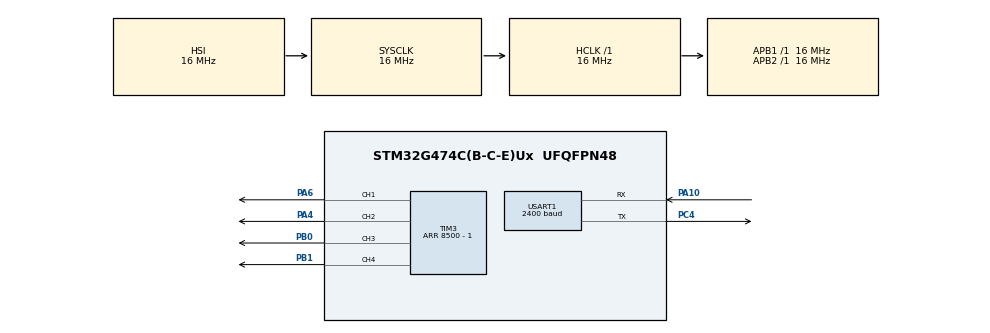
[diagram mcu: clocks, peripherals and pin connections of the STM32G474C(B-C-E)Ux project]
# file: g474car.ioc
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Mcu.Family=STM32G4
Mcu.Name=STM32G474C(B-C-E)Ux
Mcu.Package=UFQFPN48
NVIC.PriorityGroup=NVIC_PRIORITYGROUP_4
NVIC.USART1_IRQn=true\:0\:0\:false\:false\:true\:true\:true\:true
PA10.Mode=Asynchronous
PA10.Signal=USART1_RX
PA4.Signal=S_TIM3_CH2
PA6.Signal=S_TIM3_CH1
PB0.Signal=S_TIM3_CH3
PB1.Signal=S_TIM3_CH4
PC4.Mode=Asynchronous
PC4.Signal=USART1_TX
ProjectManager.HeapSize=0x200
ProjectManager.StackSize=0x400
ProjectManager.TargetToolchain=STM32CubeIDE
RCC.AHBFreq_Value=16000000
RCC.APB1Freq_Value=16000000
RCC.APB1TimFreq_Value=16000000
RCC.APB2Freq_Value=16000000
RCC.APB2TimFreq_Value=16000000
RCC.CortexFreq_Value=16000000
RCC.EXTERNAL_CLOCK_VALUE=12288000
RCC.HCLKFreq_Value=16000000
RCC.HSE_VALUE=8000000
RCC.HSI48_VALUE=48000000
RCC.HSI_VALUE=16000000
RCC.LSE_VALUE=32768
RCC.SYSCLKFreq_VALUE=16000000
RCC.USBFreq_Value=64000000
RCC.VCOOutputFreq_Value=128000000
SH.S_TIM3_CH1.0=TIM3_CH1,PWM Generation1 CH1
SH.S_TIM3_CH2.0=TIM3_CH2,PWM Generation2 CH2
SH.S_TIM3_CH3.0=TIM3_CH3,PWM Generation3 CH3
SH.S_TIM3_CH4.0=TIM3_CH4,Output Compare4 CH4
TIM3.Channel-Output\ Compare4\ CH4=TIM_CHANNEL_4
TIM3.Channel-PWM\ Generation1\ CH1=TIM_CHANNEL_1
TIM3.Channel-PWM\ Generation2\ CH2=TIM_CHANNEL_2
TIM3.Channel-PWM\ Generation3\ CH3=TIM_CHANNEL_3
TIM3.PeriodNoDither=8500 - 1
USART1.BaudRate=2400
USART1.VirtualMode-Asynchronous=VM_ASYNC
VP_SYS_VS_DBSignals.Mode=DisableDeadBatterySignals
VP_TIM3_VS_ClockSourceINT.Mode=Internal
board=custom

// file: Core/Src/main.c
/* USER CODE BEGIN Header */
/**
  ******************************************************************************
  * @file           : main.c
  * @brief          : Main program body
  ******************************************************************************
  * @attention
  *
  * Copyright (c) 2026 STMicroelectronics.
  * All rights reserved.
  *
  * This software is licensed under terms that can be found in the LICENSE file
  * in the root directory of this software component.
  * If no LICENSE file comes with this software, it is provided AS-IS.
  *
  ******************************************************************************
  */
/* USER CODE END Header */
#include "main.h"

/* USER CODE BEGIN PD */
#define STATE_IDLE    0
#define STATE_GET_L   1
#define STATE_GET_R   2
#define STATE_GET_CRC 3
/* USER CODE END PD */

TIM_HandleTypeDef htim3;

UART_HandleTypeDef huart1;

/* USER CODE BEGIN PV */
volatile uint8_t rx_state = STATE_IDLE; // Текущее состояние приемника
volatile uint8_t rx_byte = 0;           // Сюда прилетает байт из прерывания
volatile uint8_t motor_l_cmd = 100;    // Команда скорости левого мотора (100 - стоп)
volatile uint8_t motor_r_cmd = 100;    // Команда скорости правого мотора (100 - стоп)
volatile uint8_t rx_crc = 0;           // Полученная контрольная сумма
/* USER CODE END PV */

void SystemClock_Config(void);
static void MX_GPIO_Init(void);
static void MX_TIM3_Init(void);
static void MX_USART1_UART_Init(void);

/* USER CODE BEGIN 0 */
void Update_Motors(uint8_t left_val, uint8_t right_val)
{
    uint32_t duty_l = 0;
    uint32_t duty_r = 0;
    // --- ЛЕВЫЙ МОТОР (TIM3 Канал 1 и Канал 2) ---
    if (left_val > 100) // Едем вперед (101..200)
    {
        duty_l = (uint32_t)(left_val - 100) * 8499 / 100;
        __HAL_TIM_SET_COMPARE(&htim3, TIM_CHANNEL_1, duty_l); // Задаем Ш�?М на вперед
        __HAL_TIM_SET_COMPARE(&htim3, TIM_CHANNEL_2, 0);      // Назад выключаем в 0
    }
    else if (left_val < 100) // Едем назад (0..99)
    {
        duty_l = (uint32_t)(100 - left_val) * 8499 / 100;
        __HAL_TIM_SET_COMPARE(&htim3, TIM_CHANNEL_1, 0);      // Вперед выключаем в 0
        __HAL_TIM_SET_COMPARE(&htim3, TIM_CHANNEL_2, duty_l); // Задаем Ш�?М на назад
    }
    else // Стоим на месте (ровно 100)
    {
        __HAL_TIM_SET_COMPARE(&htim3, TIM_CHANNEL_1, 0);
        __HAL_TIM_SET_COMPARE(&htim3, TIM_CHANNEL_2, 0);
    }
    // --- ПРАВЫЙ МОТОР (TIM3 Канал 3 и Канал 4) ---
    if (right_val > 100) // Едем вперед
    {
        duty_r = (uint32_t)(right_val - 100) * 8499 / 100;
        __HAL_TIM_SET_COMPARE(&htim3, TIM_CHANNEL_3, duty_r);
        __HAL_TIM_SET_COMPARE(&htim3, TIM_CHANNEL_4, 0);
    }
    else if (right_val < 100) // Едем назад
    {
        duty_r = (uint32_t)(100 - right_val) * 8499 / 100;
        __HAL_TIM_SET_COMPARE(&htim3, TIM_CHANNEL_3, 0);
        __HAL_TIM_SET_COMPARE(&htim3, TIM_CHANNEL_4, duty_r);
    }
    else // Стоим
    {
        __HAL_TIM_SET_COMPARE(&htim3, TIM_CHANNEL_3, 0);
        __HAL_TIM_SET_COMPARE(&htim3, TIM_CHANNEL_4, 0);
    }
}
/* USER CODE END 0 */

int main(void)
{

  /* MCU Configuration--------------------------------------------------------*/

  /* Reset of all peripherals, Initializes the Flash interface and the Systick. */
  HAL_Init();

  /* Configure the system clock */
  SystemClock_Config();

  /* Initialize all configured peripherals */
  MX_GPIO_Init();
  MX_TIM3_Init();
  MX_USART1_UART_Init();
  /* USER CODE BEGIN 2 */
   HAL_TIM_PWM_Start(&htim3, TIM_CHANNEL_1);
   HAL_TIM_PWM_Start(&htim3, TIM_CHANNEL_2);
   HAL_TIM_PWM_Start(&htim3, TIM_CHANNEL_3);
   HAL_TIM_PWM_Start(&htim3, TIM_CHANNEL_4);
   Update_Motors(100, 100);
   // Запускаем прием первого байта по прерыванию USART1
   HAL_UART_Receive_IT(&huart1, (uint8_t*)&rx_byte, 1);
  /* USER CODE END 2 */

  /* Infinite loop */
  while (1)
  {

    /* USER CODE BEGIN 3 */
	  HAL_GPIO_TogglePin(GPIOB, GPIO_PIN_2); // Переключаем светодиод
	  HAL_Delay(500);
  }
  /* USER CODE END 3 */
}

void SystemClock_Config(void)
{
  RCC_OscInitTypeDef RCC_OscInitStruct = {0};
  RCC_ClkInitTypeDef RCC_ClkInitStruct = {0};

  /** Configure the main internal regulator output voltage
  */
  HAL_PWREx_ControlVoltageScaling(PWR_REGULATOR_VOLTAGE_SCALE1);

  /** Initializes the RCC Oscillators according to the specified parameters
  * in the RCC_OscInitTypeDef structure.
  */
  RCC_OscInitStruct.OscillatorType = RCC_OSCILLATORTYPE_HSI;
  RCC_OscInitStruct.HSIState = RCC_HSI_ON;
  RCC_OscInitStruct.HSICalibrationValue = RCC_HSICALIBRATION_DEFAULT;
  RCC_OscInitStruct.PLL.PLLState = RCC_PLL_NONE;
  if (HAL_RCC_OscConfig(&RCC_OscInitStruct) != HAL_OK)
  {
    Error_Handler();
  }

  /** Initializes the CPU, AHB and APB buses clocks
  */
  RCC_ClkInitStruct.ClockType = RCC_CLOCKTYPE_HCLK|RCC_CLOCKTYPE_SYSCLK
                              |RCC_CLOCKTYPE_PCLK1|RCC_CLOCKTYPE_PCLK2;
  RCC_ClkInitStruct.SYSCLKSource = RCC_SYSCLKSOURCE_HSI;
  RCC_ClkInitStruct.AHBCLKDivider = RCC_SYSCLK_DIV1;
  RCC_ClkInitStruct.APB1CLKDivider = RCC_HCLK_DIV1;
  RCC_ClkInitStruct.APB2CLKDivider = RCC_HCLK_DIV1;

  if (HAL_RCC_ClockConfig(&RCC_ClkInitStruct, FLASH_LATENCY_0) != HAL_OK)
  {
    Error_Handler();
  }
}

static void MX_TIM3_Init(void)
{

  TIM_ClockConfigTypeDef sClockSourceConfig = {0};
  TIM_MasterConfigTypeDef sMasterConfig = {0};
  TIM_OC_InitTypeDef sConfigOC = {0};

  htim3.Instance = TIM3;
  htim3.Init.Prescaler = 0;
  htim3.Init.CounterMode = TIM_COUNTERMODE_UP;
  htim3.Init.Period = 8499;
  htim3.Init.ClockDivision = TIM_CLOCKDIVISION_DIV1;
  htim3.Init.AutoReloadPreload = TIM_AUTORELOAD_PRELOAD_DISABLE;
  if (HAL_TIM_Base_Init(&htim3) != HAL_OK)
  {
    Error_Handler();
  }
  sClockSourceConfig.ClockSource = TIM_CLOCKSOURCE_INTERNAL;
  if (HAL_TIM_ConfigClockSource(&htim3, &sClockSourceConfig) != HAL_OK)
  {
    Error_Handler();
  }
  if (HAL_TIM_PWM_Init(&htim3) != HAL_OK)
  {
    Error_Handler();
  }
  if (HAL_TIM_OC_Init(&htim3) != HAL_OK)
  {
    Error_Handler();
  }
  sMasterConfig.MasterOutputTrigger = TIM_TRGO_RESET;
  sMasterConfig.MasterSlaveMode = TIM_MASTERSLAVEMODE_DISABLE;
  if (HAL_TIMEx_MasterConfigSynchronization(&htim3, &sMasterConfig) != HAL_OK)
  {
    Error_Handler();
  }
  sConfigOC.OCMode = TIM_OCMODE_PWM1;
  sConfigOC.Pulse = 0;
  sConfigOC.OCPolarity = TIM_OCPOLARITY_HIGH;
  sConfigOC.OCFastMode = TIM_OCFAST_DISABLE;
  if (HAL_TIM_PWM_ConfigChannel(&htim3, &sConfigOC, TIM_CHANNEL_1) != HAL_OK)
  {
    Error_Handler();
  }
  if (HAL_TIM_PWM_ConfigChannel(&htim3, &sConfigOC, TIM_CHANNEL_2) != HAL_OK)
  {
    Error_Handler();
  }
  if (HAL_TIM_PWM_ConfigChannel(&htim3, &sConfigOC, TIM_CHANNEL_3) != HAL_OK)
  {
    Error_Handler();
  }
  sConfigOC.OCMode = TIM_OCMODE_TIMING;
  if (HAL_TIM_OC_ConfigChannel(&htim3, &sConfigOC, TIM_CHANNEL_4) != HAL_OK)
  {
    Error_Handler();
  }
  HAL_TIM_MspPostInit(&htim3);

}

static void MX_USART1_UART_Init(void)
{

  huart1.Instance = USART1;
  huart1.Init.BaudRate = 2400;
  huart1.Init.WordLength = UART_WORDLENGTH_8B;
  huart1.Init.StopBits = UART_STOPBITS_1;
  huart1.Init.Parity = UART_PARITY_NONE;
  huart1.Init.Mode = UART_MODE_TX_RX;
  huart1.Init.HwFlowCtl = UART_HWCONTROL_NONE;
  huart1.Init.OverSampling = UART_OVERSAMPLING_16;
  huart1.Init.OneBitSampling = UART_ONE_BIT_SAMPLE_DISABLE;
  huart1.Init.ClockPrescaler = UART_PRESCALER_DIV1;
  huart1.AdvancedInit.AdvFeatureInit = UART_ADVFEATURE_NO_INIT;
  if (HAL_UART_Init(&huart1) != HAL_OK)
  {
    Error_Handler();
  }
  if (HAL_UARTEx_SetTxFifoThreshold(&huart1, UART_TXFIFO_THRESHOLD_1_8) != HAL_OK)
  {
    Error_Handler();
  }
  if (HAL_UARTEx_SetRxFifoThreshold(&huart1, UART_RXFIFO_THRESHOLD_1_8) != HAL_OK)
  {
    Error_Handler();
  }
  if (HAL_UARTEx_DisableFifoMode(&huart1) != HAL_OK)
  {
    Error_Handler();
  }

}

static void MX_GPIO_Init(void)
{

  /* GPIO Ports Clock Enable */
  __HAL_RCC_GPIOA_CLK_ENABLE();
  __HAL_RCC_GPIOC_CLK_ENABLE();
  __HAL_RCC_GPIOB_CLK_ENABLE();

}

/* USER CODE BEGIN 4 */
void HAL_UART_RxCpltCallback(UART_HandleTypeDef *huart)
{
    if (huart->Instance == USART1)
    {
        switch (rx_state)
        {
            case STATE_IDLE:
                if (rx_byte == 0xAA) // Поймали стартовый байт пакета!
                {
                    rx_state = STATE_GET_L;
                }
                break;
            case STATE_GET_L:
                motor_l_cmd = rx_byte; // Запоминаем скорость левого колеса
                rx_state = STATE_GET_R;
                break;
            case STATE_GET_R:
                motor_r_cmd = rx_byte; // Запоминаем скорость правого колеса
                rx_state = STATE_GET_CRC;
                break;
            case STATE_GET_CRC:
                rx_crc = rx_byte; // Получили контрольную сумму

                // Проверяем: сошлась ли математика пакета?
                if (rx_crc == (motor_l_cmd ^ motor_r_cmd ^ 0xAA))
                {
                    // Если всё верно — обновляем скорость моторов!
                    Update_Motors(motor_l_cmd, motor_r_cmd);
                }

                rx_state = STATE_IDLE; // Возвращаемся в ожидание нового пакета
                break;
        }
        // Перезапускаем прерывание на прием следующего 1 байта
        HAL_UART_Receive_IT(&huart1, (uint8_t*)&rx_byte, 1);
    }
}
/* USER CODE END 4 */

void Error_Handler(void)
{
  __disable_irq();
  while (1)
  {
  }
}
